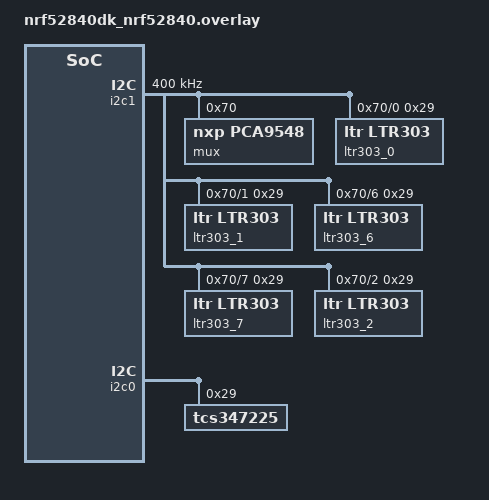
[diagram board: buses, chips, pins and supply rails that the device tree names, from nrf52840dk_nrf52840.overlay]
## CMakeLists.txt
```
cmake_minimum_required(VERSION 3.20.0)
find_package(Zephyr REQUIRED HINTS $ENV{ZEPHYR_BASE})

project(encryption_testing)

target_sources(app PRIVATE src/main.c)
```

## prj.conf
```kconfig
# Enable Bluetooth
CONFIG_BT=y
CONFIG_BT_PERIPHERAL=y
CONFIG_BT_DEVICE_NAME="Helvar"


# Enable Extended Advertising
CONFIG_BT_EXT_ADV=y

# Enable Controller
CONFIG_BT_CTLR=y  

# Enable cryptographic library and AES support
CONFIG_TINYCRYPT=y
CONFIG_TINYCRYPT_AES=y
CONFIG_TINYCRYPT_AES_CCM=y


# Enable sys_csrand for random number generation
CONFIG_ENTROPY_GENERATOR=y
CONFIG_ENTROPY_DEVICE_RANDOM_GENERATOR=y

# Enable required kernel options
CONFIG_HEAP_MEM_POOL_SIZE=1024

# I2C
CONFIG_SENSOR=y
CONFIG_I2C=y
CONFIG_CBPRINTF_FP_SUPPORT=y
CONFIG_LOG=y
```

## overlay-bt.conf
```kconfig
# Enable Bluetooth controller on the network core
CONFIG_BT_LL_SW_SPLIT=y
CONFIG_BT_CTLR=y
CONFIG_BT_CTLR_DATA_LENGTH_MAX=251
CONFIG_BT_CTLR_ASSERT_HANDLER=n
```

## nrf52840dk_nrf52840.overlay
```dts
&i2c1 {
    status = "okay";
    pinctrl-0 = <&i2c1_default>;
    pinctrl-1 = <&i2c1_sleep>;
    pinctrl-names = "default", "sleep";
 
 
    mux: pca9548@70 {
        compatible = "nxp,pca9548";
        reg = <0x70>;
        status = "okay";
        #address-cells = <1>;
        #size-cells = <0>;
 
 
        ch0: i2c@0 {
            reg = <0>;
            #address-cells = <1>;
            #size-cells = <0>;
            status = "okay";
 
 
            ltr303_0: ltr303@29 {
                compatible = "ltr,ltr303";
                reg = <0x29>;
                status = "okay";
            };
        };
 
 
        ch1: i2c@1 {
            reg = <1>;
            #address-cells = <1>;
            #size-cells = <0>;
            status = "okay";
 
 
            ltr303_1: ltr303@29 {
                compatible = "ltr,ltr303";
                reg = <0x29>;
                status = "okay";
            };
        };
 
 
        ch6: i2c@6 {
            reg = <6>;
            #address-cells = <1>;
            #size-cells = <0>;
            status = "okay";
 
 
            ltr303_6: ltr303@29 {
                compatible = "ltr,ltr303";
                reg = <0x29>;
                status = "okay";
            };
        };
 
 
        ch7: i2c@7 {
            reg = <7>;
            #address-cells = <1>;
            #size-cells = <0>;
            status = "okay";
 
 
            ltr303_7: ltr303@29 {
                compatible = "ltr,ltr303";
                reg = <0x29>;
                status = "okay";
            };
        };
 
 
        ch2: i2c@2 {
            reg = <2>;
            #address-cells = <1>;
            #size-cells = <0>;
            status = "okay";
 
 
            ltr303_2: ltr303@29 {
                compatible = "ltr,ltr303";
                reg = <0x29>;
                status = "okay";
            };
        };
    };
 
 
    clock-frequency = <I2C_BITRATE_FAST>;
 };
 
 
 &i2c0 {
    tcs347225: tcs347225@29 {
        compatibility = "ams,tcs34725";
        label = "tcs347225";
        reg = <0x29>;
    };
   
 };
 
```

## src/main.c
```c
#include <zephyr/kernel.h>
#include <zephyr/sys/printk.h>
#include <zephyr/sys/util.h>
#include <zephyr/bluetooth/bluetooth.h>
#include <zephyr/bluetooth/hci.h>
#include <tinycrypt/aes.h>
#include <tinycrypt/constants.h>
#include <tinycrypt/ccm_mode.h>
#include <string.h>
#include <stdlib.h>
#include <zephyr/random/random.h>
#include <zephyr/bluetooth/controller.h>
#include <zephyr/device.h>

#include <zephyr/drivers/i2c.h>
#include <zephyr/devicetree.h>
#include <math.h>
#include <stdio.h>
#include <stdlib.h>


//Bluetooth settings 
#define DATA_LEN 22
#define NONCE_LEN 13
#define AUTH_TAG_LEN 12
#define ADV_DATA_LEN 26
#define RSP_DATA_LEN 29
#define SLEEP_TIME_MS 2000
#define DEVICE_NAME CONFIG_BT_DEVICE_NAME
#define DEVICE_NAME_LEN (sizeof(DEVICE_NAME) - 1)
#define ENCRYPTION false
// Multiplexer i2c address
#define PCA9548A_ADDR 0x70

// LTR303 specific definitions
#define LTR303_I2C_ADDRESS 0x29
#define LTR303_ALS_CONTR 0x80
#define LTR303_ALS_MEAS_RATE 0x85
#define LTR303_ALS_DATA_CH1_0 0x88
#define LTR303_ALS_DATA_CH1_1 0x89
#define LTR303_ALS_DATA_CH0_0 0x8A
#define LTR303_ALS_DATA_CH0_1 0x8B

// TCS34725 specific definitions

//#define TCS34725_ADDRESS 0x29 // I2C address of the TCS34725 sensor

#define COMMAND_BIT 0x80
#define ENABLE 0x00
#define ATIME 0x01
#define WTIME 0x03
#define CONFIG 0x0D
#define CONTROL 0x0F
#define CLEAR_L 0x14
#define CLEAR_H 0x15
#define RED_L 0x16
#define RED_H 0x17
#define GREEN_L 0x18
#define GREEN_H 0x19
#define BLUE_L 0x1A
#define BLUE_H 0x1B

#ifndef M_PI // PI number
#define M_PI 3.14159265358979323846
#endif
//Settings for LTR-303
#define ALS_GAIN 1 
#define ALS_INT 1  // Assuming  integration time


#define I2C_NODE_RGB DT_NODELABEL(tcs347225) // RGB addres
#define I2C_NODE DT_NODELABEL(i2c1)          // MUX addres

static const struct device *i2c_dev;
//Scan for Multiplexer
void select_mux_channel(uint8_t channel) {
    int ret = i2c_reg_write_byte(i2c_dev, PCA9548A_ADDR, 0x04, 1 << channel);
    if (ret != 0) {
        printk("Failed to select I2C multiplexer channel %d. Error code: %d\n", channel, ret);
    }
}

//TCS347225 sensor data calculation 
float cct_calculation(uint16_t red, uint16_t green, uint16_t blue)
{
    float X, Y, Z; // RGB to XYZ correlation
    float xc, yc;  // Chromaticity co-ordinates
    float n;       // McCamy's formula
    float cct;

    if (red == 0 && green == 0 && blue == 0)
    {
        return 0;
    }

    // Map RGB values to their XYZ counterparts.
    // Based on 6500K fluorescent, 3000K fluorescent
    // and 60W incandescent values for a wide range.
    // Note: Y = Illuminance or lux
    X = (-0.14282F * red) + (1.54924F * green) + (-0.95641F * blue);
    Y = (-0.32466F * red) + (1.57837F * green) + (-0.73191F * blue);
    Z = (-0.68202F * red) + (0.77073F * green) + (0.56332F * blue);

    // Calculate the chromaticity co-ordinates
    xc = X / (X + Y + Z);
    yc = Y / (X + Y + Z);

    // Use McCamy's formula to determine the CCT
    n = (xc - 0.3320F) / (0.1858F - yc);

    // Calculate the final CCT
    cct = (449.0F * powf(n, 3)) + (3525.0F * powf(n, 2)) + (6823.3F * n) + 5520.33F;

    return cct;
}

//LTR-303 sensor data calculation 
float calculate_lux_ltr303(uint16_t ch0, uint16_t ch1)
{
    float ratio = (float)ch1 / (ch0 + ch1);
    float als_lux = 0;

    if (ratio < 0.45)
    {
        als_lux = (1.7743 * ch0 + 1.1059 * ch1) / ALS_GAIN / ALS_INT;
    }
    else if (ratio < 0.64)
    {
        als_lux = (4.2785 * ch0 - 1.9548 * ch1) / ALS_GAIN / ALS_INT;
    }
    else if (ratio < 0.85)
    {
        als_lux = (0.5926 * ch0 + 0.1185 * ch1) / ALS_GAIN / ALS_INT;
    }
    else
    {
        als_lux = 0;
    }
    return als_lux;
}


void configure_ltr303_sensor(uint8_t channel)
{
    uint8_t config_contr[2] = {LTR303_ALS_CONTR, 0x01};         // Set gain to x1
    uint8_t config_meas_rate[2] = {LTR303_ALS_MEAS_RATE, 0x01}; // Set integration time to 300ms
    int ret;

    ret = i2c_reg_write_byte(i2c_dev, PCA9548A_ADDR, 0x04, 1 << channel);
    if (ret != 0)
    {
        printk("Failed to select I2C multiplexer channel %d. Error code: %d\n", channel, ret);
        return;
    }

    ret = i2c_write(i2c_dev, config_contr, sizeof(config_contr), LTR303_I2C_ADDRESS);
    if (ret != 0)
    {
        printk("Failed to write ALS_CONTR to I2C device on channel %d. Error code: %d\n", channel, ret);
        return;
    }
    printk("Configured ALS_CONTR for channel %d\n", channel);

    ret = i2c_write(i2c_dev, config_meas_rate, sizeof(config_meas_rate), LTR303_I2C_ADDRESS);
    if (ret != 0)
    {
        printk("Failed to write ALS_MEAS_RATE to I2C device on channel %d. Error code: %d\n", channel, ret);
        return;
    }
    printk("Configured ALS_MEAS_RATE for channel %d\n", channel);
}

void read_ltr303_sensor_data(uint8_t channel, uint16_t *ch0, uint16_t *ch1)
{
    uint8_t ch1_data_reading[2] = {0};
    uint8_t ch0_data_reading[2] = {0};
    int ret;

    ret = i2c_reg_write_byte(i2c_dev, PCA9548A_ADDR, 0x04, 1 << channel);
    if (ret != 0)
    {
        printk("Failed to select I2C multiplexer channel %d. Error code: %d\n", channel, ret);
        return;
    }

    ret = i2c_reg_read_byte(i2c_dev, LTR303_I2C_ADDRESS, LTR303_ALS_DATA_CH1_0, &ch1_data_reading[0]);
    if (ret != 0)
    {
        printk("Failed to read CH1_0 from I2C device on channel %d. Error code: %d\n", channel, ret);
        return;
    }

    ret = i2c_reg_read_byte(i2c_dev, LTR303_I2C_ADDRESS, LTR303_ALS_DATA_CH1_1, &ch1_data_reading[1]);
    if (ret != 0)
    {
        printk("Failed to read CH1_1 from I2C device on channel %d. Error code: %d\n", channel, ret);
        return;
    }

    ret = i2c_reg_read_byte(i2c_dev, LTR303_I2C_ADDRESS, LTR303_ALS_DATA_CH0_0, &ch0_data_reading[0]);
    if (ret != 0)
    {
        printk("Failed to read CH0_0 from I2C device on channel %d. Error code: %d\n", channel, ret);
        return;
    }

    ret = i2c_reg_read_byte(i2c_dev, LTR303_I2C_ADDRESS, LTR303_ALS_DATA_CH0_1, &ch0_data_reading[1]);
    if (ret != 0)
    {
        printk("Failed to read CH0_1 from I2C device on channel %d. Error code: %d\n", channel, ret);
        return;
    }

    *ch1 = (ch1_data_reading[1] << 8) | ch1_data_reading[0];
    *ch0 = (ch0_data_reading[1] << 8) | ch0_data_reading[0];
}

void calculate_angles(float lux0, float lux1, float lux6, float lux7, float lux8, float *azimuth, float *polar)
{
    // Create vectors based on the lux values
    float v1_x = lux0;
    float v1_y = lux1;
    float v1_z = lux8;
    float v2_x = lux6;
    float v2_y = lux7;
    float v2_z = 0; 

    // Calculate vector differences
    float diff_x = v1_x - v2_x;
    float diff_y = v1_y - v2_y;
    float diff_z = v1_z - v2_z;

    // Calculate azimuth angle in degrees
    *azimuth = atan2(diff_y, diff_x) * 180 / M_PI;

    // Ensure azimuth is in the range of 0 to 360 degrees
    if (*azimuth < 0)
    {
        *azimuth += 360;
    }

    // Calculate polar angle in degrees
    *polar = atan2(diff_z, sqrt(diff_x * diff_x + diff_y * diff_y)) * 180 / M_PI;
}

float calculate_average_lux(float lux0, float lux1, float lux6, float lux7, float lux8)
{
    return (lux0 + lux1 + lux6 + lux7 + lux8) / 5.0;
}

uint8_t adv_data_array[ADV_DATA_LEN];
uint8_t rsp_data_array[RSP_DATA_LEN];

static struct bt_data ad[] = {
    BT_DATA_BYTES(BT_DATA_FLAGS, BT_LE_AD_NO_BREDR),
    BT_DATA(BT_DATA_MANUFACTURER_DATA, adv_data_array, sizeof(adv_data_array))
};

static struct bt_data scan_rsp[] = {
    BT_DATA(BT_DATA_MANUFACTURER_DATA, rsp_data_array, sizeof(rsp_data_array)) 
};


// AES Key (must be 16 bytes for AES-128)
static const uint8_t aes_key[16] = { 0x00, 0x01, 0x02, 0x03, 0x04, 0x05, 0x06, 0x07,
                                     0x08, 0x09, 0x0A, 0x0B, 0x0C, 0x0D, 0x0E, 0x0F };

void generate_encrypted_data(uint8_t *data, size_t len, uint8_t *nonce, uint8_t *auth_tag) {
    struct tc_aes_key_sched_struct aes;
    struct tc_ccm_mode_struct ccm;
    uint8_t ciphertext[DATA_LEN + AUTH_TAG_LEN];
    
    // Initialize AES context
    if (tc_aes128_set_encrypt_key(&aes, aes_key) != TC_CRYPTO_SUCCESS) {
        printk("Failed to set AES key\n");
        return;
    }

    // Initialize CCM context
    if (tc_ccm_config(&ccm, &aes, nonce, NONCE_LEN, AUTH_TAG_LEN) != TC_CRYPTO_SUCCESS) {
        printk("Failed to configure CCM\n");
        return;
    }

    // Encrypt and authenticate data
    if (tc_ccm_generation_encryption(ciphertext, sizeof(ciphertext),
                                     NULL, 0, // No associated data
                                     data, len, &ccm) != TC_CRYPTO_SUCCESS) {
        printk("Encryption and tag generation failed\n");
        return;
    }

    // Copy the ciphertext back to the original buffer
    memcpy(data, ciphertext, len);
    // Copy the authentication tag to the auth_tag buffer
    memcpy(auth_tag, ciphertext + len, AUTH_TAG_LEN);
}

void update_advertisement_data(int id, float azimuth, float polar, float average_lux, bool isNaturalLight) {
    static uint8_t adv_data[ADV_DATA_LEN];
    static uint8_t scan_rsp_data[RSP_DATA_LEN];
    uint8_t nonce[NONCE_LEN];
    uint8_t auth_tag[AUTH_TAG_LEN];

    // Round the values
    int rounded_azimuth     = (int)round(azimuth);      // use 2 bytes
    int rounded_polar       = (int)round(polar);        // use 1 byte
    int rounded_average_lux = (int)round(average_lux);  // use 2 bytes

    // Fill in advertisement data
    adv_data[0] = 0x59; // Nordic
    adv_data[1] = 0x00; // Nordic
    adv_data[2] = id & 0xFF; // ID
    adv_data[3] = (id >> 8) & 0xFF; //ID
    adv_data[4] = rounded_azimuth & 0xFF;               // Azimuth
    adv_data[5] = (rounded_azimuth >> 8) & 0xFF;        // Azimuth
    adv_data[6] = rounded_polar & 0xFF;                 // Polar
    adv_data[7] = rounded_average_lux & 0xFF;           // Avg Lux
    adv_data[8] = (rounded_average_lux >> 8) & 0xFF;    // Avg Lux
    adv_data[9] = isNaturalLight & 0xFF;                // isNaturalLight
    for (int i = 10; i < ADV_DATA_LEN; ++i) {
        adv_data[i] = 0; 
    }

    

    // Fill in scan response data
    scan_rsp_data[0] = 0x59; // Nordic
    scan_rsp_data[1] = 0x00; // Nordic
    scan_rsp_data[2] = id & 0xFF;
    scan_rsp_data[3] = (id >> 8) & 0xFF;

    if (ENCRYPTION)
    {
        // Generate a random nonce
        if (sys_csrand_get(nonce, sizeof(nonce)) < 0) {
        printk("Failed to generate random nonce\n");
        return;
        }

        // printk("Generated Nonce: ");
        // for (int i = 0; i < NONCE_LEN; i++) {
        //     printk("%02x ", nonce[i]);
        // }
        // printk("\n");

        // Encrypt the data
        generate_encrypted_data(&adv_data[4], DATA_LEN, nonce, auth_tag);

        // Copy nonce and auth tag to scan response
        memcpy(&scan_rsp_data[4], nonce, NONCE_LEN);
        memcpy(&scan_rsp_data[17], auth_tag, AUTH_TAG_LEN); // +13
    }
    else
    {
        for (int i = 4; i < RSP_DATA_LEN; ++i) {
        scan_rsp_data[i] = 0; 
    }
    }
    
    // Update advertisement and scan response data
    ad[1].data = adv_data;
    ad[1].data_len = sizeof(adv_data);
    scan_rsp[0].data = scan_rsp_data;
    scan_rsp[0].data_len = sizeof(scan_rsp_data);

    // Debug information for the data being set
    // printk("Updated advertisement data:\n");
    // for (int i = 0; i < sizeof(adv_data); i++) {
    //     printk("%02x ", adv_data[i]);
    // }
    // printk("\n");

    // printk("Updated scan response data:\n");
    // for (int i = 0; i < sizeof(scan_rsp_data); i++) {
    //     printk("%02x ", scan_rsp_data[i]);
    // }
    // printk("\n");
}

int main(void)
{
    int err;
    int id = 0;

    err = bt_enable(NULL);
    if (err) {
        printk("Bluetooth init failed (err %d)\n", err);
        return -2;
    }
    printk("Bluetooth initialized\n");

    err = bt_le_adv_start(BT_LE_ADV_NCONN_IDENTITY, ad, ARRAY_SIZE(ad), scan_rsp, ARRAY_SIZE(scan_rsp));

    if (err) {
        printk("Advertising failed to start (err %d)\n", err);
        return -2;
    }

    printk("Advertising successfully started\n");

    // RGB sensor
    int ret;
    uint16_t clear, red, green, blue;
    uint16_t red_norm, green_norm, blue_norm;

    static const struct i2c_dt_spec dev_i2c = I2C_DT_SPEC_GET(I2C_NODE_RGB);
    if (!device_is_ready(dev_i2c.bus))
    {
        printk("I2C bus %s is not ready!\n\r", dev_i2c.bus->name);
        return -1;
    }

    // Setup the sensor by writing the necessary configuration values
    uint8_t config_enable[2] = {COMMAND_BIT | ENABLE, 0x03}; // Power on and enable ADC
    ret = i2c_write_dt(&dev_i2c, config_enable, sizeof(config_enable));
    if (ret != 0)
    {
        printk("Failed to write to I2C device address %x at Reg. %x \n", dev_i2c.addr, config_enable[0]);
        return -1;
    }

    uint8_t config_control[2] = {COMMAND_BIT | CONTROL, 0x02}; // Set gain to 16X
    ret = i2c_write_dt(&dev_i2c, config_control, sizeof(config_control));
    if (ret != 0)
    {
        printk("Failed to write to I2C device address %x at Reg. %x \n", dev_i2c.addr, config_control[0]);
        return -1;
    }

    uint8_t config_atime[2] = {COMMAND_BIT | ATIME, 0xC0}; // Integration time 2.4 ms (0xFF)
    ret = i2c_write_dt(&dev_i2c, config_atime, sizeof(config_atime));
    if (ret != 0)
    {
        printk("Failed to write to I2C device address %x at Reg. %x \n", dev_i2c.addr, config_atime[0]);
        return -1;
    }

    uint8_t config_wtime[2] = {COMMAND_BIT | WTIME, 0x00};
    ret = i2c_write_dt(&dev_i2c, config_atime, sizeof(config_wtime));
    if (ret != 0)
    {
        printk("Failed to write to I2C device address %x at Reg. %x \n", dev_i2c.addr, config_atime[0]);
        return -1;
    }

    // MUX and Light sensor
    uint16_t ch0_0, ch1_0, ch0_1, ch1_1, ch0, ch1;
    float als_lux0, als_lux1, als_lux6, als_lux7, als_lux8;
    float azimuth, polar, average_lux;

    i2c_dev = DEVICE_DT_GET(I2C_NODE);

    // Configure LTR303 sensors (connected to channels 0, 1, 6, 7)
    configure_ltr303_sensor(0);
    configure_ltr303_sensor(1);
    configure_ltr303_sensor(6);
    configure_ltr303_sensor(7);
    configure_ltr303_sensor(2);
    k_sleep(K_MSEC(100)); // Give time for the sensor to stabilize

    while (1)
    {
        uint8_t rgb_readings[8] = {0};
        uint8_t sensor_regs[8] = {
            COMMAND_BIT | CLEAR_L, COMMAND_BIT | CLEAR_H,
            COMMAND_BIT | RED_L, COMMAND_BIT | RED_H,
            COMMAND_BIT | GREEN_L, COMMAND_BIT | GREEN_H,
            COMMAND_BIT | BLUE_L, COMMAND_BIT | BLUE_H};

        for (int i = 0; i < 8; i++)
        {
            ret = i2c_write_read_dt(&dev_i2c, &sensor_regs[i], 1, &rgb_readings[i], 1);
            if (ret != 0)
            {
                printk("Failed to write/read I2C device address %x at Reg. %x \r\n", dev_i2c.addr, sensor_regs[i]);
            }
        }

        clear = (rgb_readings[1] << 8) | rgb_readings[0];
        red = (rgb_readings[3] << 8) | rgb_readings[2];
        green = (rgb_readings[5] << 8) | rgb_readings[4];
        blue = (rgb_readings[7] << 8) | rgb_readings[6];

        uint16_t max_value = clear;

        red_norm = (float)red / max_value * 256;
        green_norm = (float)green / max_value * 256;
        blue_norm = (float)blue / max_value * 256;

        // printk("Clear: %u, Red: %u, Green: %u, Blue: %u\n", clear, red_norm, green_norm, blue_norm);
        float diffRG = fabs(red_norm - green_norm);
        float diffGB = fabs(green_norm - blue_norm);
        float diffBR = fabs(blue_norm - red_norm);
        float cct = cct_calculation(red, green, blue);
        float rgbThreshold = 10.0;
        float rbrThreshold = 2.0;
        float meanCCTMin = 5000.0;
        float meanCCTMax = 6500.0;

        bool isNaturalLight = (diffGB < rgbThreshold && (diffBR > diffGB) && (diffBR > diffGB) && (diffRG - diffBR <= 3 || diffRG - diffBR <= -3));

        // const char *source = isNaturalLight ? "natural" : "unnatural";

        // printk("Clear: %u, Red: %u, Green: %u, Blue: %u, DiffRG: %f, DiffGB: %f, DiffBR: %f, CCT: %f, Source: %s\n", clear, red_norm, green_norm, blue_norm, diffRG, diffGB, diffBR, cct, source);

        // Read and calculate lux for LTR303 sensors
        read_ltr303_sensor_data(0, &ch0_0, &ch1_0);
        als_lux0 = calculate_lux_ltr303(ch0_0, ch1_0);

        read_ltr303_sensor_data(1, &ch0_1, &ch1_1);
        als_lux1 = calculate_lux_ltr303(ch0_1, ch1_1);

        read_ltr303_sensor_data(6, &ch0_0, &ch1_0);
        als_lux6 = calculate_lux_ltr303(ch0_0, ch1_0);

        read_ltr303_sensor_data(7, &ch0_1, &ch1_1);
        als_lux7 = calculate_lux_ltr303(ch0_1, ch1_1);

        read_ltr303_sensor_data(2, &ch0_1, &ch1_1);
        als_lux8 = calculate_lux_ltr303(ch0_1, ch1_1);

        // Calculate angles based on lux values from all sensors
        calculate_angles(als_lux0, als_lux1, als_lux6, als_lux7, als_lux8, &azimuth, &polar);

        // Calculate average lux
        average_lux = calculate_average_lux(als_lux0, als_lux1, als_lux6, als_lux7, als_lux8);

        const char *source = isNaturalLight ? "Natural" : "Artificial";

        // Print results
        // printk("Sensor 0: Current Lux: %.2f\n", als_lux0);
        // printk("Sensor 1: Current Lux: %.2f\n", als_lux1);
        // printk("Sensor 6: Current Lux: %.2f\n", als_lux6);
        // printk("Sensor 7: Current Lux: %.2f\n", als_lux7);
        // printk("Sensor 2: Current Lux: %.2f\n", als_lux8);

        // printk("Clear: %u, Red: %u, Green: %u, Blue: %u\n", clear, red_norm, green_norm, blue_norm);
        // printk("Clear: %u, Red: %u, Green: %u, Blue: %u, DiffRG: %f, DiffGB: %f, DiffBR: %f, CCT: %f, Source: %s\n", clear, red_norm, green_norm, blue_norm, diffRG, diffGB, diffBR, cct, source);

        
        printk("\n\nID: %d\n", id);
        printk("Azimuth: %.2f degrees\nPolar: %.2f degrees\n", azimuth, polar);
        printk("Average Lux: %.2f\n", average_lux);
        printk("Light Source: %s\n", source);

        update_advertisement_data(id, azimuth, polar, average_lux, isNaturalLight);
        bt_le_adv_update_data(ad, ARRAY_SIZE(ad), scan_rsp, ARRAY_SIZE(scan_rsp));

        if (id < 65535)
        {
            id++;
        }
        else
        {
            id = 0;
        }
        // Sleep for ms
        k_msleep(SLEEP_TIME_MS);
    }
}
```
